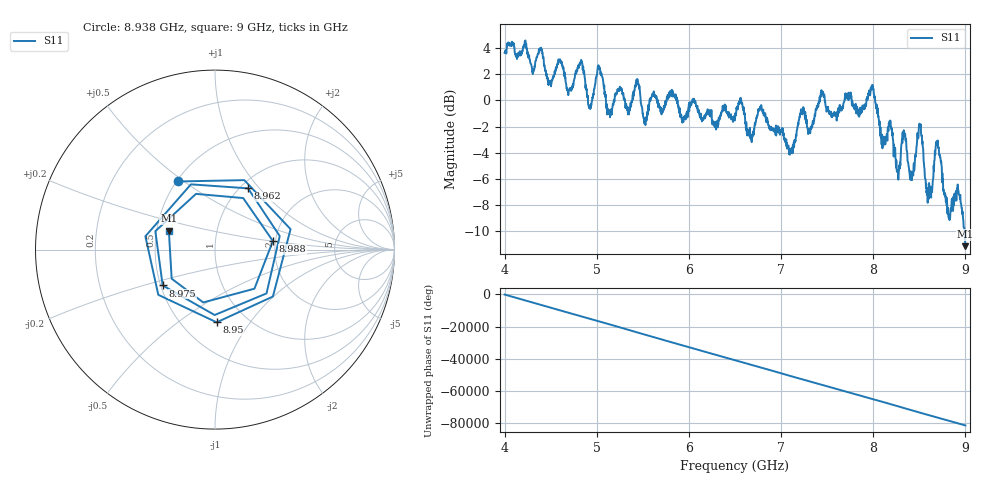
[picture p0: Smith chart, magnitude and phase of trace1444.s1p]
! Created with skrf 1.8.0 (http://scikit-rf.org).
# Hz S RI R 50.0
!freq ReS11 ImS11
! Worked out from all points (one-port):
!   1601 points, 4 GHz to 9 GHz, reference 50 ohm
!   lowest |S11| = -11.1 dB at 9 GHz (marker M1), VSWR 1.77, Z = 29 + j6.6 ohm
!   |S11| at or under -10 dB: 8.989753 GHz to end of sweep
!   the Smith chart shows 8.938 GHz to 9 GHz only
!   S11 on the Smith chart (normalised r, x): 8.938 GHz: 0.51, +0.47; 8.95 GHz: 0.73, -0.71; 8.962 GHz: 1.09, +0.87; 8.975 GHz: 0.51, -0.23; 8.988 GHz: 1.94, +0.21; 9 GHz: 0.58, +0.13
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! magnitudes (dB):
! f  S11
! 4 GHz  3.6
! 4.625 GHz  2.7
! 4.703 GHz  0.9
! 4.838 GHz  3.0
! 4.931 GHz  -0.6
! 5.031 GHz  2.5
! 5.138 GHz  -0.7
! 5.25 GHz  1.0
! 5.522 GHz  -1.4
! 5.875 GHz  0.0
! 6.5 GHz  -1.4
! 7.125 GHz  -4.0
! 7.228 GHz  -0.7
! 7.75 GHz  0.3
! 7.994 GHz  0.9
! 8.106 GHz  -3.0
! 8.375 GHz  -4.7
! 8.422 GHz  -5.8
! 8.503 GHz  -1.8
! 8.597 GHz  -6.7
! 8.694 GHz  -3.4
! 8.812 GHz  -8.6
! 8.938 GHz  -7.3
! 8.95 GHz  -7.8
! 8.962 GHz  -8.2
! 8.975 GHz  -9.0
! 8.988 GHz  -9.7
! 9 GHz  -11.1
